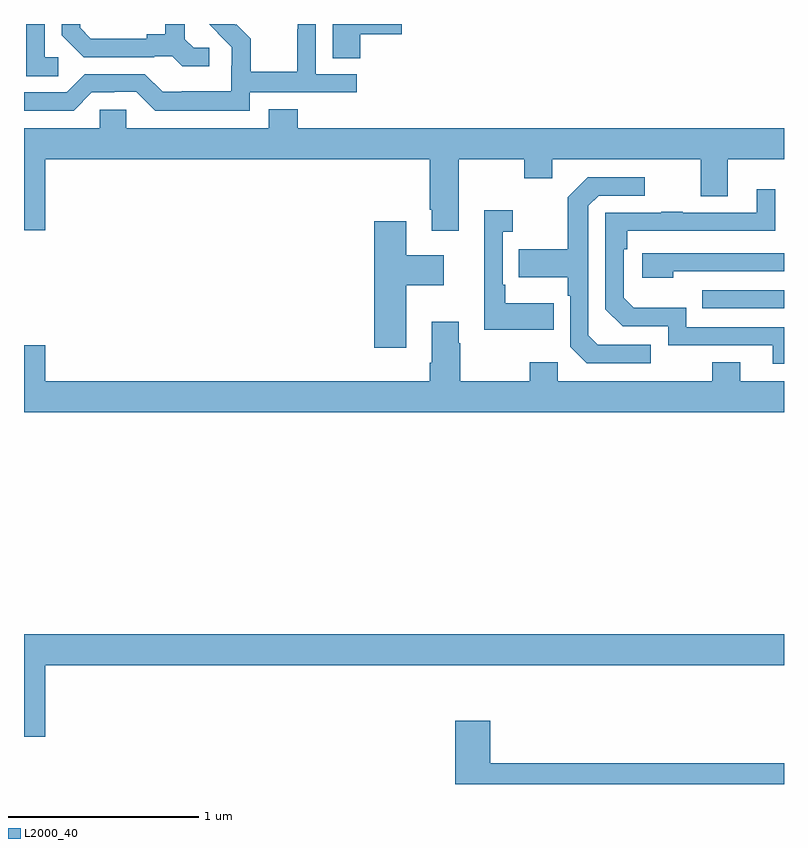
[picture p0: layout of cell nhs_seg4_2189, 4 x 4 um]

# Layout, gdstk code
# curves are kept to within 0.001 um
import gdstk
lib = gdstk.Library(unit=1e-6, precision=1e-09)
def R(c, l, rs):  # rectangles x0, y0, x1, y1
    for r in rs: c.add(gdstk.rectangle(r[:2], r[2:], *l))
def P(c, l, *ps):  # polygons
    for p in ps: c.add(gdstk.Polygon(p, *l))
L2000_40 = (2000, 40)

nhs_seg4_2189 = lib.new_cell('nhs_seg4_2189')
R(nhs_seg4_2189, L2000_40, [(228.571,761.403,229,761.499)])
P(nhs_seg4_2189, L2000_40, [(226.769,762.845),(226.987,762.845),(226.987,762.9),(226.625,762.9),(226.625,762.721),(226.769,762.721)],
  [(225.976,762.774),(225.894,762.774),(225.847,762.821),(225.847,762.9),(225.743,762.9),(225.743,762.845),(225.647,762.845),(225.647,762.822),(225.352,762.822),(225.295,762.879),(225.295,762.9),(225.198,762.9),(225.198,762.842),(225.314,762.726),(225.686,762.726),(225.686,762.729),(225.78,762.729),(225.832,762.677),(225.976,762.677)],
  [(226.188,762.54),(226.75,762.54),(226.75,762.636),(226.536,762.636),(226.536,762.9),(226.44,762.9),(226.44,762.872),(226.438,762.872),(226.438,762.649),(226.193,762.649),(226.193,762.823),(226.116,762.9),(226.113,762.897),(226.11,762.9),(225.974,762.9),(226.094,762.778),(226.094,762.681),(226.092,762.681),(226.092,762.547),(225.829,762.547),(225.829,762.543),(225.729,762.543),(225.636,762.636),(225.321,762.636),(225.225,762.54),(225,762.54),(225,762.444),(225.261,762.444),(225.357,762.54),(225.476,762.54),(225.476,762.543),(225.591,762.543),(225.691,762.443),(226.188,762.443)],
  [(225.181,762.726),(225.108,762.726),(225.108,762.9),(225.012,762.9),(225.012,762.625),(225.181,762.625)],
  [(227.287,762.188),(227.632,762.188),(227.632,762.089),(227.779,762.089),(227.779,762.188),(228.563,762.188),(228.563,761.994),(228.703,761.994),(228.703,762.188),(229,762.188),(229,762.352),(226.442,762.352),(226.442,762.451),(226.289,762.451),(226.289,762.352),(225.537,762.352),(225.537,762.45),(225.399,762.45),(225.399,762.352),(225,762.352),(225,761.814),(225.112,761.814),(225.112,762.188),(227.135,762.188),(227.135,761.923),(227.147,761.923),(227.147,761.811),(227.287,761.811)],
  [(228.298,761.211),(228.021,761.211),(227.97,761.262),(227.97,761.943),(228.024,761.997),(228.268,761.997),(228.268,762.093),(227.967,762.093),(227.862,761.987),(227.862,761.715),(227.605,761.715),(227.605,761.567),(227.862,761.567),(227.862,761.471),(227.874,761.471),(227.874,761.202),(227.961,761.115),(228.298,761.115)],
  [(229,761.304),(228.486,761.304),(228.486,761.407),(228.209,761.407),(228.156,761.46),(228.156,761.714),(228.176,761.714),(228.176,761.811),(228.953,761.812),(228.953,762.031),(228.857,762.031),(228.857,761.907),(228.467,761.907),(228.467,761.912),(228.355,761.912),(228.355,761.907),(228.06,761.907),(228.06,761.4),(228.15,761.31),(228.39,761.31),(228.39,761.208),(228.941,761.208),(228.941,761.112),(229,761.112)],
  [(227.789,761.431),(227.533,761.431),(227.533,761.527),(227.52,761.527),(227.52,761.807),(227.572,761.807),(227.572,761.92),(227.423,761.92),(227.423,761.291),(227.789,761.291)],
  [(227.011,761.525),(227.209,761.525),(227.209,761.683),(227.011,761.683),(227.011,761.863),(226.844,761.863),(226.844,761.196),(227.011,761.196)],
  [(228.416,761.598),(229,761.598),(229,761.694),(228.255,761.694),(228.255,761.564),(228.416,761.564)],
  [(229,761.02),(228.769,761.02),(228.769,761.119),(228.622,761.119),(228.622,761.02),(227.808,761.02),(227.808,761.119),(227.662,761.119),(227.662,761.02),(227.295,761.02),(227.295,761.219),(227.287,761.219),(227.287,761.332),(227.147,761.332),(227.147,761.116),(227.135,761.116),(227.135,761.02),(225.112,761.02),(225.112,761.209),(225,761.209),(225,760.856),(229,760.856)],
  [(225.112,759.524),(229,759.524),(229,759.688),(225,759.688),(225,759.15),(225.112,759.15)],
  [(229,759.008),(227.453,759.008),(227.453,759.232),(227.27,759.232),(227.27,758.9),(229,758.9)])

lib.write_gds('nhs_seg4_2189.gds')
